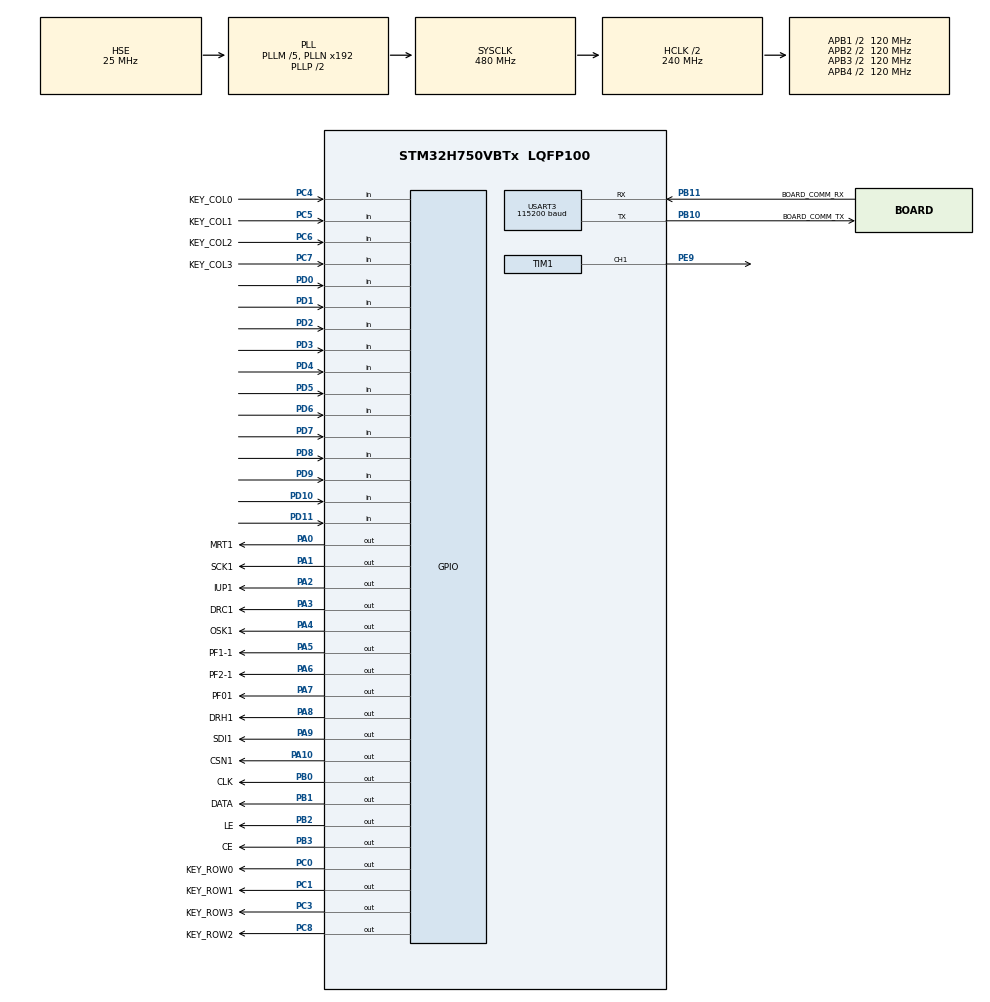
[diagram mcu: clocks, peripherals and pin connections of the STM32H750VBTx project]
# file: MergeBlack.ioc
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CORTEX_M7.default_mode_Activation=1
Dma.Request0=TIM1_UP
Dma.TIM1_UP.0.Direction=DMA_PERIPH_TO_MEMORY
Dma.TIM1_UP.0.EventEnable=DISABLE
Dma.TIM1_UP.0.FIFOMode=DMA_FIFOMODE_DISABLE
Dma.TIM1_UP.0.Instance=DMA1_Stream1
Dma.TIM1_UP.0.MemDataAlignment=DMA_MDATAALIGN_HALFWORD
Dma.TIM1_UP.0.MemInc=DMA_MINC_ENABLE
Dma.TIM1_UP.0.Mode=DMA_CIRCULAR
Dma.TIM1_UP.0.PeriphDataAlignment=DMA_PDATAALIGN_HALFWORD
Dma.TIM1_UP.0.PeriphInc=DMA_PINC_DISABLE
Dma.TIM1_UP.0.Polarity=HAL_DMAMUX_REQ_GEN_RISING
Dma.TIM1_UP.0.Priority=DMA_PRIORITY_LOW
Dma.TIM1_UP.0.RequestNumber=1
Dma.TIM1_UP.0.SignalID=NONE
Dma.TIM1_UP.0.SyncEnable=DISABLE
Dma.TIM1_UP.0.SyncPolarity=HAL_DMAMUX_SYNC_NO_EVENT
Dma.TIM1_UP.0.SyncRequestNumber=1
Dma.TIM1_UP.0.SyncSignalID=NONE
Mcu.Family=STM32H7
Mcu.Name=STM32H750VBTx
Mcu.Package=LQFP100
NVIC.DMA1_Stream1_IRQn=true\:0\:0\:false\:false\:true\:false\:true\:true
NVIC.PriorityGroup=NVIC_PRIORITYGROUP_4
NVIC.USART3_IRQn=true\:0\:0\:false\:false\:true\:true\:true\:true
PA0.GPIO_Label=MRT1
PA0.Signal=GPIO_Output
PA1.GPIO_Label=SCK1
PA1.Signal=GPIO_Output
PA10.GPIO_Label=CSN1
PA10.Signal=GPIO_Output
PA2.GPIO_Label=IUP1
PA2.Signal=GPIO_Output
PA3.GPIO_Label=DRC1
PA3.Signal=GPIO_Output
PA4.GPIO_Label=OSK1
PA4.Signal=GPIO_Output
PA5.GPIO_Label=PF1-1
PA5.Signal=GPIO_Output
PA6.GPIO_Label=PF2-1
PA6.Signal=GPIO_Output
PA7.GPIO_Label=PF01
PA7.Signal=GPIO_Output
PA8.GPIO_Label=DRH1
PA8.Signal=GPIO_Output
PA9.GPIO_Label=SDI1
PA9.Signal=GPIO_Output
PB10.GPIO_Label=BOARD_COMM_TX
PB10.Mode=Asynchronous
PB10.Signal=USART3_TX
PB11.GPIO_Label=BOARD_COMM_RX
PB11.Mode=Asynchronous
PB11.Signal=USART3_RX
PB0.GPIO_Label=CLK
PB0.Signal=GPIO_Output
PB1.GPIO_Label=DATA
PB1.Signal=GPIO_Output
PB2.GPIO_Label=LE
PB2.Signal=GPIO_Output
PB3\ (JTDO/TRACESWO).GPIO_Label=CE
PB3\ (JTDO/TRACESWO).Signal=GPIO_Output
PC0.GPIO_Label=KEY_ROW0
PC0.Signal=GPIO_Output
PC1.GPIO_Label=KEY_ROW1
PC1.Signal=GPIO_Output
PC8.GPIO_Label=KEY_ROW2
PC8.Signal=GPIO_Output
PC3.GPIO_Label=KEY_ROW3
PC3.Signal=GPIO_Output
PC4.GPIO_Label=KEY_COL0
PC4.GPIO_PuPd=GPIO_PULLUP
PC4.Signal=GPIO_Input
PC5.GPIO_Label=KEY_COL1
PC5.GPIO_PuPd=GPIO_PULLUP
PC5.Signal=GPIO_Input
PC6.GPIO_Label=KEY_COL2
PC6.GPIO_PuPd=GPIO_PULLUP
PC6.Signal=GPIO_Input
PC7.GPIO_Label=KEY_COL3
PC7.GPIO_PuPd=GPIO_PULLUP
PC7.Signal=GPIO_Input
PD0.Signal=GPIO_Input
PD1.Signal=GPIO_Input
PD10.Signal=GPIO_Input
PD11.Signal=GPIO_Input
PD2.Signal=GPIO_Input
PD3.Signal=GPIO_Input
PD4.Signal=GPIO_Input
PD5.Signal=GPIO_Input
PD6.Signal=GPIO_Input
PD7.Signal=GPIO_Input
PD8.Signal=GPIO_Input
PD9.Signal=GPIO_Input
PE9.Signal=S_TIM1_CH1
PH0-OSC_IN\ (PH0).Mode=HSE-External-Oscillator
PH0-OSC_IN\ (PH0).Signal=RCC_OSC_IN
PH1-OSC_OUT\ (PH1).Mode=HSE-External-Oscillator
PH1-OSC_OUT\ (PH1).Signal=RCC_OSC_OUT
ProjectManager.HeapSize=0x200
ProjectManager.StackSize=0x400
ProjectManager.TargetToolchain=MDK-ARM V5.32
RCC.ADCFreq_Value=50390625
RCC.APB1Freq_Value=120000000
RCC.APB2Freq_Value=120000000
RCC.APB3Freq_Value=120000000
RCC.APB4Freq_Value=120000000
RCC.CortexFreq_Value=480000000
RCC.D1PPRE=RCC_APB3_DIV2
RCC.D2PPRE1=RCC_APB1_DIV2
RCC.D2PPRE2=RCC_APB2_DIV2
RCC.D3PPRE=RCC_APB4_DIV2
RCC.DIVM1=5
RCC.DIVN1=192
RCC.HCLKFreq_Value=240000000
RCC.HPRE=RCC_HCLK_DIV2
RCC.PLLSourceVirtual=RCC_PLLSOURCE_HSE
RCC.SYSCLKFreq_VALUE=480000000
RCC.SYSCLKSource=RCC_SYSCLKSOURCE_PLLCLK
RCC.USBFreq_Value=480000000
SH.S_TIM1_CH1.0=TIM1_CH1,PWM Generation1 CH1
TIM1.Channel-PWM\ Generation1\ CH1=TIM_CHANNEL_1
TIM1.OCFastMode_PWM-PWM\ Generation1\ CH1=TIM_OCFAST_ENABLE
TIM1.OCMode_PWM-PWM\ Generation1\ CH1=TIM_OCMODE_PWM2
TIM1.Period=50-1
TIM1.Pulse-PWM\ Generation1\ CH1=25
TIM1.TIM_MasterOutputTrigger=TIM_TRGO_UPDATE
TIM1.TIM_MasterOutputTrigger2=TIM_TRGO2_UPDATE
USART3.VirtualMode-Asynchronous=VM_ASYNC
USART3.BaudRate=115200
USART3.WordLength=UART_WORDLENGTH_8B
USART3.StopBits=UART_STOPBITS_1
USART3.Parity=UART_PARITY_NONE
USART3.Mode=UART_MODE_TX_RX
USART3.OverSampling=UART_OVERSAMPLING_16
USART3.OneBitSampling=UART_ONE_BIT_SAMPLE_DISABLE
USART3.ClockPrescaler=UART_PRESCALER_DIV1
VP_MEMORYMAP_VS_MEMORYMAP.Mode=CurAppReg
board=custom

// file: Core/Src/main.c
/* USER CODE BEGIN Header */
/**
  ******************************************************************************
  * @file           : main.c
  * @brief          : Main program body
  ******************************************************************************
  * @attention
  *
  * Copyright (c) 2026 STMicroelectronics.
  * All rights reserved.
  *
  * This software is licensed under terms that can be found in the LICENSE file
  * in the root directory of this software component.
  * If no LICENSE file comes with this software, it is provided AS-IS.
  *
  ******************************************************************************
  */
/* USER CODE END Header */
#include "main.h"
#include "dma.h"
#include "tim.h"
#include "usart.h"
#include "gpio.h"

/* USER CODE BEGIN Includes */
#include "AD9226_User.h"
#include "AD9910_User.h"
#include "ADF4351_User.h"
#include "BoardComm_User.h"
#include "Keypad_User.h"
#include "SpectrumSystem_User.h"
/* USER CODE END Includes */

/* USER CODE BEGIN PV */
extern double adc_value;
extern double adc_volt;
extern uint32_t AD9226_Rec_Buf[1024];
extern uint8_t dds_mode;
// DDSУ׼���ӣ���У׼ʱΪ1
extern float dds_factor;

double Hz=900;

/* USER CODE END PV */

void SystemClock_Config(void);
static void MPU_Config(void);

int main(void)
{

  /* MPU Configuration--------------------------------------------------------*/
  MPU_Config();

  /* MCU Configuration--------------------------------------------------------*/

  /* Reset of all peripherals, Initializes the Flash interface and the Systick. */
  HAL_Init();

  /* Configure the system clock */
  SystemClock_Config();

  /* USER CODE BEGIN SysInit */
  //ADF4351_Init(350);																									// ???��?????

  /* USER CODE END SysInit */

  /* Initialize all configured peripherals */
  MX_GPIO_Init();
  MX_DMA_Init();
  MX_TIM1_Init();
  MX_USART3_UART_Init();
  /* USER CODE BEGIN 2 */
  //ADF4351_SetFreq(2000);
	Delay_Init();
  BoardComm_Init();
  (void)BoardComm_StartReceiveToIdleIT();
  Keypad_Init();
	AD9910_Init_1();
	AD9910_Singal_Profile_Init_1();
//	double Hz=900;
  dds_output_sine(Hz,1,100);

	HAL_TIM_Base_Start(&htim1);
	HAL_TIM_PWM_Start(&htim1,TIM_CHANNEL_1);
	HAL_TIM_DMABurst_MultiReadStart(&htim1,TIM_DMABASE_ARR,TIM_DMA_UPDATE,(uint32_t *)AD9226_Rec_Buf,15,1024);

  HAL_TIM_PWM_Start(&htim1,TIM_CHANNEL_1);

	ADF4351_Init(350);
	ADF4351_SetFreq(Hz);
  SpectrumSystem_Init();

  /* USER CODE END 2 */

  /* Infinite loop */
  /* USER CODE BEGIN WHILE */
  while (1)
  {
    Keypad_ScanTask();
    SpectrumSystem_Task();

		if(AD9226_Get_DMA_Complete_Flag()== Collect_complete)
		{
			HAL_TIM_DMABurst_MultiReadStart(&htim1,TIM_DMABASE_ARR,TIM_DMA_UPDATE,(uint32_t *)AD9226_Rec_Buf,15,1024);
			AD9226_Set_DMA_collection_flag(Collect_complete_not);
		}
		Keypad_DelayWithScan(10);
	  //ADF4351_SetFreq(Hz+=100);
		//Hz+=100;
    //dds_output_sine(Hz,1,100);
    /* USER CODE END WHILE */

  }
}

void SystemClock_Config(void)
{
  RCC_OscInitTypeDef RCC_OscInitStruct = {0};
  RCC_ClkInitTypeDef RCC_ClkInitStruct = {0};

  /** Supply configuration update enable
  */
  HAL_PWREx_ConfigSupply(PWR_LDO_SUPPLY);

  /** Configure the main internal regulator output voltage
  */
  __HAL_PWR_VOLTAGESCALING_CONFIG(PWR_REGULATOR_VOLTAGE_SCALE0);

  while(!__HAL_PWR_GET_FLAG(PWR_FLAG_VOSRDY)) {}

  /** Initializes the RCC Oscillators according to the specified parameters
  * in the RCC_OscInitTypeDef structure.
  */
  RCC_OscInitStruct.OscillatorType = RCC_OSCILLATORTYPE_HSE;
  RCC_OscInitStruct.HSEState = RCC_HSE_ON;
  RCC_OscInitStruct.PLL.PLLState = RCC_PLL_ON;
  RCC_OscInitStruct.PLL.PLLSource = RCC_PLLSOURCE_HSE;
  RCC_OscInitStruct.PLL.PLLM = 5;
  RCC_OscInitStruct.PLL.PLLN = 192;
  RCC_OscInitStruct.PLL.PLLP = 2;
  RCC_OscInitStruct.PLL.PLLQ = 2;
  RCC_OscInitStruct.PLL.PLLR = 2;
  RCC_OscInitStruct.PLL.PLLRGE = RCC_PLL1VCIRANGE_2;
  RCC_OscInitStruct.PLL.PLLVCOSEL = RCC_PLL1VCOWIDE;
  RCC_OscInitStruct.PLL.PLLFRACN = 0;
  if (HAL_RCC_OscConfig(&RCC_OscInitStruct) != HAL_OK)
  {
    Error_Handler();
  }

  /** Initializes the CPU, AHB and APB buses clocks
  */
  RCC_ClkInitStruct.ClockType = RCC_CLOCKTYPE_HCLK|RCC_CLOCKTYPE_SYSCLK
                              |RCC_CLOCKTYPE_PCLK1|RCC_CLOCKTYPE_PCLK2
                              |RCC_CLOCKTYPE_D3PCLK1|RCC_CLOCKTYPE_D1PCLK1;
  RCC_ClkInitStruct.SYSCLKSource = RCC_SYSCLKSOURCE_PLLCLK;
  RCC_ClkInitStruct.SYSCLKDivider = RCC_SYSCLK_DIV1;
  RCC_ClkInitStruct.AHBCLKDivider = RCC_HCLK_DIV2;
  RCC_ClkInitStruct.APB3CLKDivider = RCC_APB3_DIV2;
  RCC_ClkInitStruct.APB1CLKDivider = RCC_APB1_DIV2;
  RCC_ClkInitStruct.APB2CLKDivider = RCC_APB2_DIV2;
  RCC_ClkInitStruct.APB4CLKDivider = RCC_APB4_DIV2;

  if (HAL_RCC_ClockConfig(&RCC_ClkInitStruct, FLASH_LATENCY_4) != HAL_OK)
  {
    Error_Handler();
  }
}

/* USER CODE BEGIN 4 */
void Keypad_EventCallback(char key)
{
  uint8_t payload = (uint8_t)key;

  SpectrumSystem_OnKey(key);
  (void)BoardComm_Send(BOARD_COMM_CMD_KEYPAD, &payload, 1U);
}
void HAL_TIM_PeriodElapsedCallback(TIM_HandleTypeDef *htim)
{
	if(htim==&htim1)
  {
		HAL_TIM_DMABurst_ReadStop(&htim1,TIM_DMA_UPDATE);
	  AD9226_Set_DMA_collection_flag(Collect_complete);
		adc_value=Read_GPIOD_12bit();
		adc_volt = adc_to_volt(adc_value);
	}
}
/* USER CODE END 4 */

 /* MPU Configuration */

void MPU_Config(void)
{
  MPU_Region_InitTypeDef MPU_InitStruct = {0};

  /* Disables the MPU */
  HAL_MPU_Disable();

  /** Initializes and configures the Region and the memory to be protected
  */
  MPU_InitStruct.Enable = MPU_REGION_ENABLE;
  MPU_InitStruct.Number = MPU_REGION_NUMBER0;
  MPU_InitStruct.BaseAddress = 0x0;
  MPU_InitStruct.Size = MPU_REGION_SIZE_4GB;
  MPU_InitStruct.SubRegionDisable = 0x87;
  MPU_InitStruct.TypeExtField = MPU_TEX_LEVEL0;
  MPU_InitStruct.AccessPermission = MPU_REGION_NO_ACCESS;
  MPU_InitStruct.DisableExec = MPU_INSTRUCTION_ACCESS_DISABLE;
  MPU_InitStruct.IsShareable = MPU_ACCESS_SHAREABLE;
  MPU_InitStruct.IsCacheable = MPU_ACCESS_NOT_CACHEABLE;
  MPU_InitStruct.IsBufferable = MPU_ACCESS_NOT_BUFFERABLE;

  HAL_MPU_ConfigRegion(&MPU_InitStruct);
  /* Enables the MPU */
  HAL_MPU_Enable(MPU_PRIVILEGED_DEFAULT);

}

void Error_Handler(void)
{
  __disable_irq();
  while (1)
  {
  }
}
